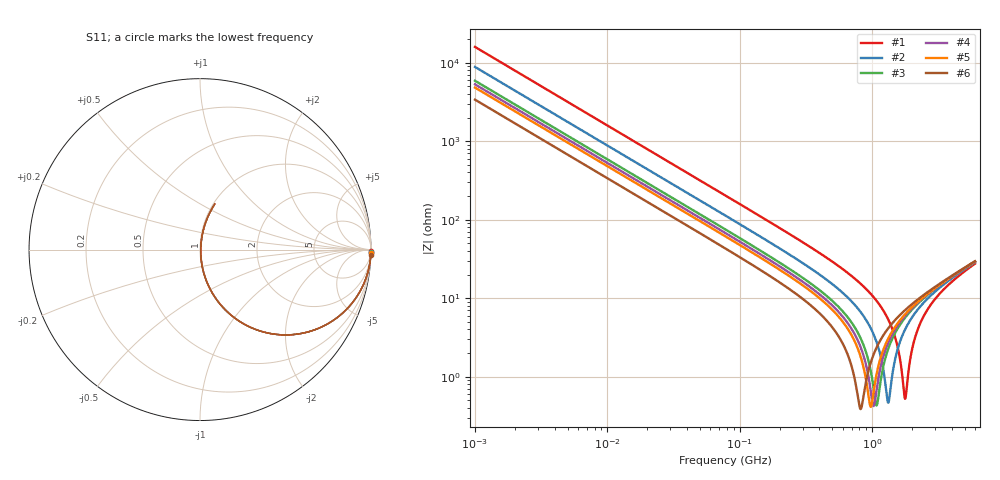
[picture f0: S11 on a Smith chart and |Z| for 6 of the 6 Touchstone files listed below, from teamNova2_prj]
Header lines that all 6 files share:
! FH publishes no RF data: typical 0805 C0G model, ESL=0.8 nH, ESR=0.10+0.10*sqrt(f/100MHz) ohm
! Generated by make_s2p.py - an estimate, not a measurement
! Series-thru 2-port: part connected between port 1 and port 2.
# Hz S RI R 50
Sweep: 1 MHz to 6 GHz
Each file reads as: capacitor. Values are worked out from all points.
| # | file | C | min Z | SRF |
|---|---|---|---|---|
| 1 | FH_0805CG100J500NT.s2p | 10 pF | 522 mohm | 1.779 GHz |
| 2 | FH_0805CG180J500NT.s2p | 18 pF | 466 mohm | 1.326 GHz |
| 3 | FH_0805CG270J500NT.s2p | 27 pF | 430 mohm | 1.083 GHz |
| 4 | FH_0805CG300J500NT.s2p | 30 pF | 422 mohm | 1.027 GHz |
| 5 | FH_0805CG330J500NT.s2p | 33 pF | 413 mohm | 979.5 MHz |
| 6 | FH_0805CG470J500NT.s2p | 47 pF | 386 mohm | 820.8 MHz |
